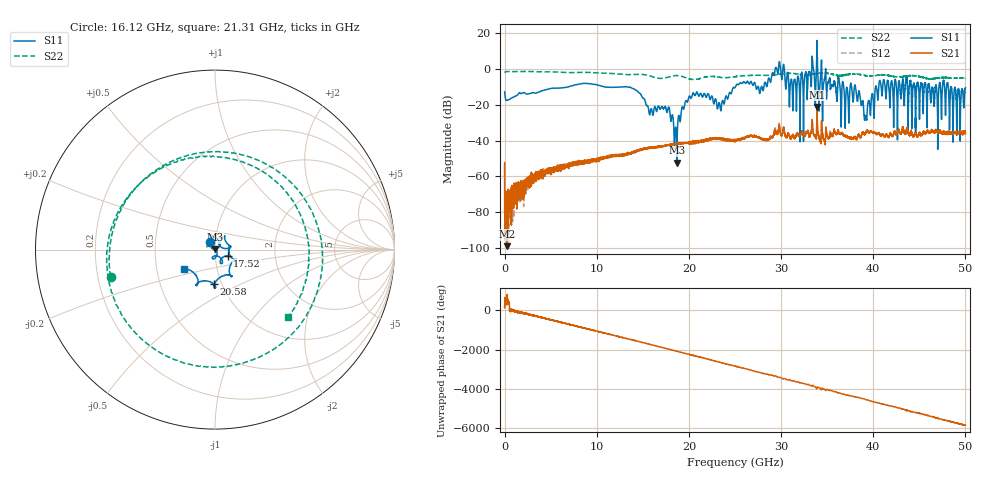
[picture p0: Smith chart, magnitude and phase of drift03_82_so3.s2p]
!Created with skrf (http://scikit-rf.org).
# Hz S RI R 50.0
!freq ReS11 ImS11 ReS21 ImS21 ReS12 ImS12 ReS22 ImS22
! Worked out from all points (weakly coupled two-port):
!   10001 points, 300 kHz to 50 GHz, reference 50 ohm
!   highest |S21| = -21.19 dB at 33.9 GHz (marker M1); lowest = -98.9 dB at 275.3 MHz (marker M2)
!   lowest |S11| = -52.4 dB at 18.69 GHz (marker M3), VSWR 1.00, Z = 49.9 + j0.203 ohm
!   |S11| at or under -10 dB: start of sweep to 6.935 GHz; 13.33 GHz to 25.04 GHz (11.72 GHz wide, 61.1 % of centre); 38.08 GHz to 40.25 GHz (2.173 GHz wide, 5.55 % of centre) (the widest 3 of 52)
!   |S22| runs from -5.9 to -1.3 dB; largest |S21 - S12| = 0.0088
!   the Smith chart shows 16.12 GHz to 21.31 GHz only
!   S11 on the Smith chart (normalised r, x): 16.12 GHz: 0.94, +0.08; 17.52 GHz: 1.15, -0.08; 20.58 GHz: 0.92, -0.37; 21.31 GHz: 0.69, -0.16
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300000  -0.209 -0.101  -0.00235 0.00065  0.00127 0.00153  -0.763 -0.1952
2.752984e8  -0.107 0.0785  -7.92e-06 -8.06e-06  0.00012 0.00032  -0.7205 0.4456
1.535291e9  0.2051 0.0436  -8.06e-05 -0.000378  -0.000118 -0.000236  0.8488 0.0785
3.160281e9  -0.2189 -0.00858  0.000167 0.000992  -6.51e-05 0.000993  -0.8448 -0.0261
4.665272e9  0.2635 0.0614  2.86e-05 -0.00144  0.000111 -0.00132  0.8183 0.144
6.360262e9  -0.3003 -0.000244  0.000765 0.00152  0.00068 0.00176  -0.8045 -0.0456
8.33525e9  0.2842 -0.2674  -0.00225 -0.000846  -0.00218 -0.000676  0.6045 -0.5337
9.575243e9  -0.3719 -0.0489  0.00153 0.0024  0.00154 0.00237  -0.7862 -0.0991
1.124523e10  0.3063 0.0236  -0.00216 -0.00295  -0.00233 -0.00274  0.7577 0.0231
1.61202e10  -0.0304 0.0421  0.00599 0.00242  0.00622 0.0021  -0.5821 -0.1505
1.66702e10  0.053 0.0757  0.00475 -0.00485  0.00478 -0.00489  -0.3659 0.4152
1.751519e10  0.0698 -0.0349  -0.00603 -0.00405  -0.00584 -0.0041  0.4833 0.3045
1.869019e10  -0.00128 0.00204  0.00232 0.00806  0.00239 0.00774  -0.0804 -0.6486
2.057518e10  -0.00444 -0.1936  -0.00789 -0.00473  -0.00825 -0.00494  0.3713 0.3508
2.131017e10  -0.1711 -0.1106  -0.00587 0.0083  -0.00527 0.00804  0.4084 -0.3759
2.500015e10  -0.2978 -0.0494  0.00821 0.00637  0.00779 0.00639  -0.1759 -0.5855
3.052012e10  0.2308 -0.15  -0.00225 0.0126  -0.0021 0.0128  0.7461 -0.0634
3.214011e10  0.1977 0.4284  -0.000852 -0.0152  -0.000505 -0.0152  -0.696 0.00789
3.33351e10  0.4848 -1.027  -0.00522 0.0259  -0.00595 0.0244  0.6111 0.3735
3.38951e10  -0.8824 -6.204  0.0868 0.00749  0.0813 0.00823  0.6827 -0.3223
4.167005e10  -0.229 0.2765  -0.0122 -0.00435  -0.0118 -0.00483  -0.6583 -0.0625
5e10  -0.1473 -0.259  0.00119 -0.0154  0.0015 -0.0175  0.4781 -0.3071
